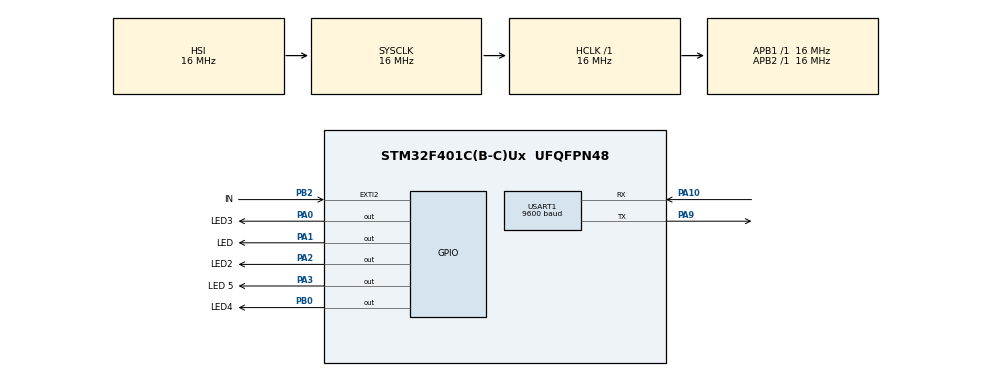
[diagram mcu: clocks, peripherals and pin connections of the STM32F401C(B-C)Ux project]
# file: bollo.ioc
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Dma.Request0=USART1_RX
Dma.USART1_RX.0.Direction=DMA_PERIPH_TO_MEMORY
Dma.USART1_RX.0.FIFOMode=DMA_FIFOMODE_DISABLE
Dma.USART1_RX.0.Instance=DMA2_Stream2
Dma.USART1_RX.0.MemDataAlignment=DMA_MDATAALIGN_BYTE
Dma.USART1_RX.0.MemInc=DMA_MINC_ENABLE
Dma.USART1_RX.0.Mode=DMA_NORMAL
Dma.USART1_RX.0.PeriphDataAlignment=DMA_PDATAALIGN_BYTE
Dma.USART1_RX.0.PeriphInc=DMA_PINC_DISABLE
Dma.USART1_RX.0.Priority=DMA_PRIORITY_LOW
Mcu.Family=STM32F4
Mcu.Name=STM32F401C(B-C)Ux
Mcu.Package=UFQFPN48
NVIC.DMA2_Stream2_IRQn=true\:0\:0\:false\:false\:true\:false\:true\:true
NVIC.EXTI2_IRQn=true\:0\:0\:false\:false\:true\:true\:true\:true
NVIC.PriorityGroup=NVIC_PRIORITYGROUP_2
NVIC.TIM1_UP_TIM10_IRQn=true\:3\:0\:true\:false\:true\:true\:true\:true
NVIC.USART1_IRQn=true\:0\:0\:false\:false\:true\:true\:true\:true
PA0-WKUP.GPIO_Label=LED3
PA0-WKUP.Signal=GPIO_Output
PA1.GPIO_Label=LED
PA1.Signal=GPIO_Output
PA10.Mode=Asynchronous
PA10.Signal=USART1_RX
PA2.GPIO_Label=LED2
PA2.Signal=GPIO_Output
PA3.GPIO_Label=LED 5
PA3.Signal=GPIO_Output
PA9.Mode=Asynchronous
PA9.Signal=USART1_TX
PB0.GPIO_Label=LED4
PB0.Signal=GPIO_Output
PB2.GPIO_Label=IN
PB2.GPIO_ModeDefaultEXTI=GPIO_MODE_IT_FALLING
PB2.GPIO_PuPd=GPIO_PULLUP
PB2.Signal=GPXTI2
ProjectManager.HeapSize=0x200
ProjectManager.StackSize=0x400
ProjectManager.TargetToolchain=CMake
RCC.AHBFreq_Value=16000000
RCC.APB1Freq_Value=16000000
RCC.APB2Freq_Value=16000000
RCC.CortexFreq_Value=16000000
RCC.HSE_VALUE=25000000
RCC.HSI_VALUE=16000000
RCC.LSE_VALUE=32768
RCC.SYSCLKFreq_VALUE=16000000
RCC.VCOOutputFreq_Value=192000000
TIM1.AutoReloadPreload=TIM_AUTORELOAD_PRELOAD_ENABLE
TIM1.Period=100-1
TIM1.Prescaler=16000-1
USART1.BaudRate=9600
USART1.VirtualMode=VM_ASYNC
VP_TIM1_VS_ClockSourceINT.Mode=Internal
board=custom

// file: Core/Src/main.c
/* USER CODE BEGIN Header */
/**
  ******************************************************************************
  * @file           : main.c
  * @brief          : Main program body
  ******************************************************************************
  * @attention
  *
  * Copyright (c) 2026 STMicroelectronics.
  * All rights reserved.
  *
  * This software is licensed under terms that can be found in the LICENSE file
  * in the root directory of this software component.
  * If no LICENSE file comes with this software, it is provided AS-IS.
  *
  ******************************************************************************
  */
/* USER CODE END Header */
#include "main.h"

/* USER CODE BEGIN Includes */
#include "stdint.h"
#include "stdio.h"
#include "string.h"
#include "stdlib.h"
#include "ctype.h"
#include "UARTRX.h"
#include "uart.h"
/* USER CODE END Includes */

TIM_HandleTypeDef htim1;

UART_HandleTypeDef huart1;
DMA_HandleTypeDef hdma_usart1_rx;

void SystemClock_Config(void);
static void MX_GPIO_Init(void);
static void MX_DMA_Init(void);
static void MX_TIM1_Init(void);
static void MX_USART1_UART_Init(void);
/* USER CODE BEGIN PFP */
void procesa_rx(void);
/* USER CODE END PFP */

int main(void)
{

  /* MCU Configuration--------------------------------------------------------*/

  /* Reset of all peripherals, Initializes the Flash interface and the Systick. */
  HAL_Init();

  /* Configure the system clock */
  SystemClock_Config();

  /* Initialize all configured peripherals */
  MX_GPIO_Init();
  MX_DMA_Init();
  MX_TIM1_Init();
  MX_USART1_UART_Init();
  /* USER CODE BEGIN 2 */
  HAL_TIM_Base_Start_IT(&htim1);
  uartRX_it_idle_dma_init( &UARTRX1);

  /* USER CODE END 2 */

  /* Infinite loop */
  /* USER CODE BEGIN WHILE */
  while (1)
  {
    HAL_GPIO_TogglePin(LED_GPIO_Port, LED_Pin);
    HAL_Delay(200);
    if (UARTRX1.flag_rx==1)
      {
          procesa_rx();                 // Procesa el comando recibido por UART
          uartRX_DMA_Re_init(&UARTRX1); // Prepara la recepción para el siguiente comando
      }
    /* USER CODE END WHILE */

  }
}

void SystemClock_Config(void)
{
  RCC_OscInitTypeDef RCC_OscInitStruct = {0};
  RCC_ClkInitTypeDef RCC_ClkInitStruct = {0};

  /** Configure the main internal regulator output voltage
  */
  __HAL_RCC_PWR_CLK_ENABLE();
  __HAL_PWR_VOLTAGESCALING_CONFIG(PWR_REGULATOR_VOLTAGE_SCALE2);

  /** Initializes the RCC Oscillators according to the specified parameters
  * in the RCC_OscInitTypeDef structure.
  */
  RCC_OscInitStruct.OscillatorType = RCC_OSCILLATORTYPE_HSI;
  RCC_OscInitStruct.HSIState = RCC_HSI_ON;
  RCC_OscInitStruct.HSICalibrationValue = RCC_HSICALIBRATION_DEFAULT;
  RCC_OscInitStruct.PLL.PLLState = RCC_PLL_NONE;
  if (HAL_RCC_OscConfig(&RCC_OscInitStruct) != HAL_OK)
  {
    Error_Handler();
  }

  /** Initializes the CPU, AHB and APB buses clocks
  */
  RCC_ClkInitStruct.ClockType = RCC_CLOCKTYPE_HCLK|RCC_CLOCKTYPE_SYSCLK
                              |RCC_CLOCKTYPE_PCLK1|RCC_CLOCKTYPE_PCLK2;
  RCC_ClkInitStruct.SYSCLKSource = RCC_SYSCLKSOURCE_HSI;
  RCC_ClkInitStruct.AHBCLKDivider = RCC_SYSCLK_DIV1;
  RCC_ClkInitStruct.APB1CLKDivider = RCC_HCLK_DIV1;
  RCC_ClkInitStruct.APB2CLKDivider = RCC_HCLK_DIV1;

  if (HAL_RCC_ClockConfig(&RCC_ClkInitStruct, FLASH_LATENCY_0) != HAL_OK)
  {
    Error_Handler();
  }
}

static void MX_TIM1_Init(void)
{

  TIM_ClockConfigTypeDef sClockSourceConfig = {0};
  TIM_MasterConfigTypeDef sMasterConfig = {0};

  htim1.Instance = TIM1;
  htim1.Init.Prescaler = 16000-1;
  htim1.Init.CounterMode = TIM_COUNTERMODE_UP;
  htim1.Init.Period = 100-1;
  htim1.Init.ClockDivision = TIM_CLOCKDIVISION_DIV1;
  htim1.Init.RepetitionCounter = 0;
  htim1.Init.AutoReloadPreload = TIM_AUTORELOAD_PRELOAD_ENABLE;
  if (HAL_TIM_Base_Init(&htim1) != HAL_OK)
  {
    Error_Handler();
  }
  sClockSourceConfig.ClockSource = TIM_CLOCKSOURCE_INTERNAL;
  if (HAL_TIM_ConfigClockSource(&htim1, &sClockSourceConfig) != HAL_OK)
  {
    Error_Handler();
  }
  sMasterConfig.MasterOutputTrigger = TIM_TRGO_RESET;
  sMasterConfig.MasterSlaveMode = TIM_MASTERSLAVEMODE_DISABLE;
  if (HAL_TIMEx_MasterConfigSynchronization(&htim1, &sMasterConfig) != HAL_OK)
  {
    Error_Handler();
  }

}

static void MX_USART1_UART_Init(void)
{

  huart1.Instance = USART1;
  huart1.Init.BaudRate = 9600;
  huart1.Init.WordLength = UART_WORDLENGTH_8B;
  huart1.Init.StopBits = UART_STOPBITS_1;
  huart1.Init.Parity = UART_PARITY_NONE;
  huart1.Init.Mode = UART_MODE_TX_RX;
  huart1.Init.HwFlowCtl = UART_HWCONTROL_NONE;
  huart1.Init.OverSampling = UART_OVERSAMPLING_16;
  if (HAL_UART_Init(&huart1) != HAL_OK)
  {
    Error_Handler();
  }

}

static void MX_DMA_Init(void)
{

  /* DMA controller clock enable */
  __HAL_RCC_DMA2_CLK_ENABLE();

  /* DMA interrupt init */
  /* DMA2_Stream2_IRQn interrupt configuration */
  HAL_NVIC_SetPriority(DMA2_Stream2_IRQn, 0, 0);
  HAL_NVIC_EnableIRQ(DMA2_Stream2_IRQn);

}

static void MX_GPIO_Init(void)
{
  GPIO_InitTypeDef GPIO_InitStruct = {0};

  /* GPIO Ports Clock Enable */
  __HAL_RCC_GPIOA_CLK_ENABLE();
  __HAL_RCC_GPIOB_CLK_ENABLE();

  /*Configure GPIO pin Output Level */
  HAL_GPIO_WritePin(GPIOA, LED3_Pin|LED_Pin|LED2_Pin, GPIO_PIN_RESET);

  /*Configure GPIO pin Output Level */
  HAL_GPIO_WritePin(LED4_GPIO_Port, LED4_Pin, GPIO_PIN_RESET);
  HAL_GPIO_WritePin(LED5_GPIO_Port, LED5_Pin, GPIO_PIN_RESET);

  /*Configure GPIO pins : LED3_Pin LED_Pin LED2_Pin */
  GPIO_InitStruct.Pin = LED3_Pin|LED_Pin|LED2_Pin;
  GPIO_InitStruct.Mode = GPIO_MODE_OUTPUT_PP;
  GPIO_InitStruct.Pull = GPIO_NOPULL;
  GPIO_InitStruct.Speed = GPIO_SPEED_FREQ_LOW;
  HAL_GPIO_Init(GPIOA, &GPIO_InitStruct);

  /*Configure GPIO pin : LED4_Pin */
  GPIO_InitStruct.Pin = LED4_Pin;
  GPIO_InitStruct.Mode = GPIO_MODE_OUTPUT_PP;
  GPIO_InitStruct.Pull = GPIO_NOPULL;
  GPIO_InitStruct.Speed = GPIO_SPEED_FREQ_LOW;
  HAL_GPIO_Init(LED4_GPIO_Port, &GPIO_InitStruct);

  /*Configure GPIO pin : LED5_Pin (quinto LED controlado por UART) */
  GPIO_InitStruct.Pin = LED5_Pin;
  GPIO_InitStruct.Mode = GPIO_MODE_OUTPUT_PP;
  GPIO_InitStruct.Pull = GPIO_NOPULL;
  GPIO_InitStruct.Speed = GPIO_SPEED_FREQ_LOW;
  HAL_GPIO_Init(LED5_GPIO_Port, &GPIO_InitStruct);

  /*Configure GPIO pin : IN_Pin */
  GPIO_InitStruct.Pin = IN_Pin;
  GPIO_InitStruct.Mode = GPIO_MODE_IT_FALLING;
  GPIO_InitStruct.Pull = GPIO_PULLUP;
  HAL_GPIO_Init(IN_GPIO_Port, &GPIO_InitStruct);

  /* EXTI interrupt init*/
  HAL_NVIC_SetPriority(EXTI2_IRQn, 0, 0);
  HAL_NVIC_EnableIRQ(EXTI2_IRQn);

}

/* USER CODE BEGIN 4 */

/**
 * Procesa los comandos recibidos por USART1.
 * Acepta "LED ON" y "LED OFF", con o sin CR/LF al final.
 */
void procesa_rx(void)
{
    char comando[101];
    uint16_t n = UARTRX1.num_datos;

    if (n > sizeof(comando) - 1)
        n = sizeof(comando) - 1;

    if (UARTRX1.trama_rx == NULL || n == 0)
        return;

    memcpy(comando, UARTRX1.trama_rx, n);
    comando[n] = '\0';

    /* Elimina espacios y finales de línea al final del comando. */
    while (n > 0 && (comando[n - 1] == '\r' ||
                     comando[n - 1] == '\n' ||
                     comando[n - 1] == ' '  ||
                     comando[n - 1] == '\t'))
    {
        comando[--n] = '\0';
    }

    /* Permite escribir el comando en mayúsculas o minúsculas. */
    for (uint16_t i = 0; i < n; i++)
        comando[i] = (char)toupper((unsigned char)comando[i]);

    if (strcmp(comando, "LED ON") == 0)
    {
        HAL_GPIO_WritePin(LED5_GPIO_Port, LED5_Pin, GPIO_PIN_SET);
        uartx_write_text(&huart1, "Quinto LED encendido\r\n");
    }
    else if (strcmp(comando, "LED OFF") == 0)
    {
        HAL_GPIO_WritePin(LED5_GPIO_Port, LED5_Pin, GPIO_PIN_RESET);
        uartx_write_text(&huart1, "Quinto LED apagado\r\n");
    }
    else
    {
        uartx_write_text(&huart1, "Comando no reconocido. Use LED ON o LED OFF\r\n");
    }
}

/* USER CODE END 4 */

void Error_Handler(void)
{
  __disable_irq();
  while (1)
  {
  }
}
